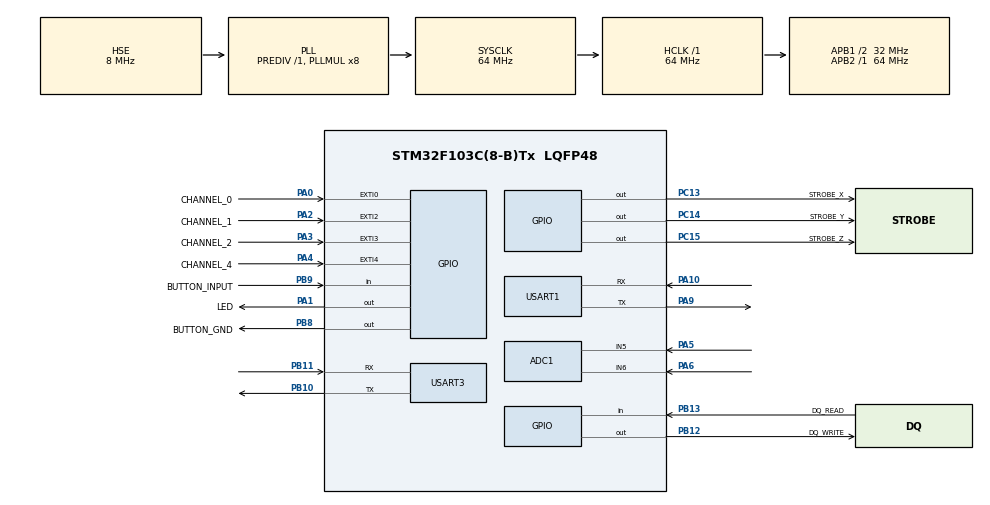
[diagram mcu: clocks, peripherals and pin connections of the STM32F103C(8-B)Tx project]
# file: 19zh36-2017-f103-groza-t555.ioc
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ADC1.Channel-0\#ChannelRegularConversion=ADC_CHANNEL_5
ADC1.NbrOfConversionFlag=1
ADC1.Rank-0\#ChannelRegularConversion=1
ADC1.SamplingTime-0\#ChannelRegularConversion=ADC_SAMPLETIME_1CYCLE_5
ADC1.master=1
Dma.Request0=USART3_RX
Dma.USART3_RX.0.Direction=DMA_PERIPH_TO_MEMORY
Dma.USART3_RX.0.Instance=DMA1_Channel3
Dma.USART3_RX.0.MemDataAlignment=DMA_MDATAALIGN_BYTE
Dma.USART3_RX.0.MemInc=DMA_MINC_ENABLE
Dma.USART3_RX.0.Mode=DMA_CIRCULAR
Dma.USART3_RX.0.PeriphDataAlignment=DMA_PDATAALIGN_BYTE
Dma.USART3_RX.0.PeriphInc=DMA_PINC_DISABLE
Dma.USART3_RX.0.Priority=DMA_PRIORITY_LOW
Mcu.Family=STM32F1
Mcu.Name=STM32F103C(8-B)Tx
Mcu.Package=LQFP48
NVIC.DMA1_Channel3_IRQn=true\:0\:0\:false\:false\:true\:false\:true
NVIC.EXTI0_IRQn=true\:1\:0\:true\:false\:true\:true\:true
NVIC.EXTI2_IRQn=true\:3\:0\:true\:false\:true\:true\:true
NVIC.EXTI3_IRQn=true\:4\:0\:true\:false\:true\:true\:true
NVIC.EXTI4_IRQn=true\:0\:0\:false\:false\:true\:true\:true
NVIC.PriorityGroup=NVIC_PRIORITYGROUP_4
NVIC.TIM3_IRQn=true\:7\:0\:true\:false\:true\:true\:true
PA0-WKUP.GPIO_Label=CHANNEL_0
PA0-WKUP.GPIO_PuPd=GPIO_PULLUP
PA0-WKUP.Signal=GPXTI0
PA1.GPIO_Label=LED
PA1.GPIO_ModeDefaultOutputPP=GPIO_MODE_OUTPUT_OD
PA1.Signal=GPIO_Output
PA10.Mode=Asynchronous
PA10.Signal=USART1_RX
PA13.Mode=Serial_Wire
PA13.Signal=SYS_JTMS-SWDIO
PA14.Mode=Serial_Wire
PA14.Signal=SYS_JTCK-SWCLK
PA2.GPIO_Label=CHANNEL_1
PA2.GPIO_PuPd=GPIO_PULLUP
PA2.Signal=GPXTI2
PA3.GPIO_Label=CHANNEL_2
PA3.GPIO_PuPd=GPIO_PULLUP
PA3.Signal=GPXTI3
PA4.GPIO_Label=CHANNEL_4
PA4.GPIO_ModeDefaultEXTI=GPIO_MODE_IT_RISING
PA4.GPIO_PuPd=GPIO_PULLUP
PA4.Signal=GPXTI4
PA5.Signal=ADCx_IN5
PA6.Signal=ADCx_IN6
PA9.Mode=Asynchronous
PA9.Signal=USART1_TX
PB10.Mode=Asynchronous
PB10.Signal=USART3_TX
PB11.Mode=Asynchronous
PB11.Signal=USART3_RX
PB12.GPIO_Label=DQ_WRITE
PB12.GPIO_ModeDefaultOutputPP=GPIO_MODE_OUTPUT_OD
PB12.GPIO_PuPd=GPIO_PULLUP
PB12.GPIO_Speed=GPIO_SPEED_FREQ_HIGH
PB12.PinState=GPIO_PIN_SET
PB12.Signal=GPIO_Output
PB13.GPIO_Label=DQ_READ
PB13.GPIO_PuPd=GPIO_PULLUP
PB13.Signal=GPIO_Input
PB8.GPIO_Label=BUTTON_GND
PB8.GPIO_PuPd=GPIO_PULLDOWN
PB8.Signal=GPIO_Output
PB9.GPIO_Label=BUTTON_INPUT
PB9.GPIO_PuPd=GPIO_PULLUP
PB9.Signal=GPIO_Input
PC13-TAMPER-RTC.GPIO_Label=STROBE_X
PC13-TAMPER-RTC.GPIO_PuPd=GPIO_PULLUP
PC13-TAMPER-RTC.GPIO_Speed=GPIO_SPEED_FREQ_HIGH
PC13-TAMPER-RTC.Signal=GPIO_Output
PC14-OSC32_IN.GPIO_Label=STROBE_Y
PC14-OSC32_IN.GPIO_PuPd=GPIO_PULLUP
PC14-OSC32_IN.GPIO_Speed=GPIO_SPEED_FREQ_HIGH
PC14-OSC32_IN.Signal=GPIO_Output
PC15-OSC32_OUT.GPIO_Label=STROBE_Z
PC15-OSC32_OUT.GPIO_PuPd=GPIO_PULLUP
PC15-OSC32_OUT.GPIO_Speed=GPIO_SPEED_FREQ_HIGH
PC15-OSC32_OUT.Signal=GPIO_Output
PD0-OSC_IN.Mode=HSE-External-Oscillator
PD0-OSC_IN.Signal=RCC_OSC_IN
PD1-OSC_OUT.Mode=HSE-External-Oscillator
PD1-OSC_OUT.Signal=RCC_OSC_OUT
ProjectManager.HeapSize=0x200
ProjectManager.StackSize=0x400
ProjectManager.TargetToolchain=STM32CubeIDE
RCC.ADCPresc=RCC_ADCPCLK2_DIV6
RCC.AHBFreq_Value=64000000
RCC.APB1CLKDivider=RCC_HCLK_DIV2
RCC.APB1Freq_Value=32000000
RCC.APB1TimFreq_Value=64000000
RCC.APB2Freq_Value=64000000
RCC.APB2TimFreq_Value=64000000
RCC.HCLKFreq_Value=64000000
RCC.PLLMUL=RCC_PLL_MUL8
RCC.PLLSourceVirtual=RCC_PLLSOURCE_HSE
RCC.SYSCLKFreq_VALUE=64000000
RCC.SYSCLKSource=RCC_SYSCLKSOURCE_PLLCLK
RCC.USBFreq_Value=64000000
SH.ADCx_IN5.0=ADC1_IN5,IN5
SH.ADCx_IN6.0=ADC1_IN6,IN6
TIM3.ClockDivision=TIM_CLOCKDIVISION_DIV1
TIM3.Period=1000-1
TIM3.Prescaler=64000-1
TIM4.Period=65000
TIM4.Prescaler=18-1
USART1.VirtualMode=VM_ASYNC
USART3.VirtualMode=VM_ASYNC
VP_ADC1_TempSens_Input.Mode=IN-TempSens
VP_TIM3_VS_ClockSourceINT.Mode=Internal
VP_TIM4_VS_ClockSourceINT.Mode=Internal
board=custom

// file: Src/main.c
/* USER CODE BEGIN Header */
/**
  ******************************************************************************
  * @file           : main.c
  * @brief          : Main program body
  ******************************************************************************
  * @attention
  *
  * <h2><center>&copy; Copyright (c) 2020 STMicroelectronics.
  * All rights reserved.</center></h2>
  *
  * This software component is licensed by ST under BSD 3-Clause license,
  * the "License"; You may not use this file except in compliance with the
  * License. You may obtain a copy of the License at:
  *                        opensource.org/licenses/BSD-3-Clause
  *
  ******************************************************************************
  */
/* USER CODE END Header */
#include "main.h"
#include "adc.h"
#include "dma.h"
#include "tim.h"
#include "usart.h"
#include "gpio.h"

/* USER CODE BEGIN Includes */

	#include "groza-t55_sm.h"
	#include "ringbuffer_dma_sm.h"
	#include "groza-t55_config.h"
	#include "ds18b20_sm.h"

/* USER CODE END Includes */

/* USER CODE BEGIN PV */
/* Private variables ---------------------------------------------------------*/

/* USER CODE END PV */

void SystemClock_Config(void);
/* USER CODE BEGIN PFP */
/* Private function prototypes -----------------------------------------------*/

/* USER CODE END PFP */

int main(void)
{

  /* MCU Configuration--------------------------------------------------------*/

  /* Reset of all peripherals, Initializes the Flash interface and the Systick. */
  HAL_Init();

  /* Configure the system clock */
  SystemClock_Config();

  /* Initialize all configured peripherals */
  MX_GPIO_Init();
  MX_DMA_Init();
  MX_USART1_UART_Init();
  MX_ADC1_Init();
  MX_TIM4_Init();
  MX_USART3_UART_Init();
  MX_TIM3_Init();
  /* USER CODE BEGIN 2 */

	PointStr MyStr0 = {0};
	PointStr MyStr1 = {0};
	PointStr MyStr2 = {0};
	PointStr MyStr3 = {0};
	char DataChar[0xFF] = {0};

	Groza_t55_init();
	DS18b20_Print_serial_number(&huart1);
	//while(1) {
		DS18b20_ConvertTemp_SkipROM ();
		HAL_Delay(1000);
		int temp_int = DS18b20_Get_Temp_SkipROM ();
		sprintf(DataChar, "DS18b20 = %d;\r\n",temp_int);
		HAL_UART_Transmit(&huart1, (uint8_t *)DataChar, sizeof(DataChar), 100);
	//	HAL_Delay(4000);
	//}

	HAL_GPIO_WritePin(LED_GPIO_Port, LED_Pin, SET) ;
	HAL_GPIO_WritePin(BUTTON_GND_GPIO_Port, BUTTON_GND_Pin, RESET );
	while (HAL_GPIO_ReadPin(BUTTON_INPUT_GPIO_Port, BUTTON_INPUT_Pin ) == GPIO_PIN_RESET ) {
		Measurement( &MyStr0, 0 );
	}

#if ( FIRST8 == 1 )
	for (int i=0; i<60; i++) {	// wait for router ready
		Measurement( &MyStr0, 0 );
		HAL_Delay(300);
	}

#elif ( NEXT12	== 1)
	for (int i=0; i<70; i++) {	// wait for router ready
		Measurement( &MyStr0, 0 );
		HAL_Delay(300);
	}
#endif

	RingBuffer_DMA_Connect();
	Groza_t55_init();

	//	HAL_TIM_Base_Start(&htim3);
	HAL_TIM_Base_Start_IT(&htim3);

  /* USER CODE END 2 */

  /* Infinite loop */
  /* USER CODE BEGIN WHILE */
while (1) {
	//	NRF24L01_Module();
	while (HAL_GPIO_ReadPin(BUTTON_INPUT_GPIO_Port, BUTTON_INPUT_Pin ) == GPIO_PIN_RESET ) {
		if (Get_Flag_1_Sec() == 1) {
			Measurement( &MyStr0, 0);
			Set_Flag_1_Sec(0);
		}
	}
	for (				uint8_t line3=0; line3 < CIRCLE_QNT; line3++ )	{
		for (			uint8_t line2=0; line2 < CIRCLE_QNT; line2++ )	{
			for (		uint8_t line1=0; line1 < CIRCLE_QNT; line1++ )	{
				for (	uint8_t line0=0; line0 < CIRCLE_QNT; line0++ )	{
					while (Get_Flag_1_Sec() == 0) {	/* wait on flag 1 Sec */ }
					Set_Flag_1_Sec(0);
					Measurement( &MyStr0, line0);
				}//for(line0)
				for (uint8_t device = 0; device < DEVICE_QNT; device++) {
					sprintf(DataChar,"  A%d%d%d\t", (int)line3, (int)line2, (int)line1 );
					HAL_UART_Transmit(&huart1, (uint8_t *)DataChar, strlen(DataChar), 100);
					MyStr1.point_u32[device][line1] = Calc_Average(MyStr0.point_u32[device], CIRCLE_QNT);
				}
			}//for(line1)
			for (uint8_t device = 0; device < DEVICE_QNT; device++) {
				sprintf(DataChar,"  B%d%d\t", (int)line3, (int)line2 );
				HAL_UART_Transmit(&huart1, (uint8_t *)DataChar, strlen(DataChar), 100);
				MyStr2.point_u32[device][line2] = Calc_Average(MyStr1.point_u32[device], CIRCLE_QNT);
			}
		}//for(line2)
		for (uint8_t device = 0; device < DEVICE_QNT; device++) {
			sprintf(DataChar,"  C%d\t", (int)line3 );
			HAL_UART_Transmit(&huart1, (uint8_t *)DataChar, strlen(DataChar), 100);
			MyStr3.point_u32[device][line3] = Calc_Average(MyStr2.point_u32[device], CIRCLE_QNT);
		}
	}//for(line3)

	uint32_t aver_res_u32[DEVICE_QNT];
	for (uint8_t device = 0; device < DEVICE_QNT; device++) {
		sprintf(DataChar,"  D\t" );
		HAL_UART_Transmit(&huart1, (uint8_t *)DataChar, strlen(DataChar), 100);
		aver_res_u32[device] = Calc_Average(MyStr3.point_u32[device], CIRCLE_QNT);
	}

	DS18b20_ConvertTemp_SkipROM ();

	char http_req[0xFF] = { 0 } ;
	sprintf(http_req, "&field1=%d&field2=%d&field3=%d&field4=%d&field5=%d&field6=%d&field7=%d&field8=%d\r\n\r\n",
					(int) MyStr0.zerone_u32[ 0] ,
					(int) MyStr0.zerone_u32[ 1] ,
					(int) MyStr0.zerone_u32[ 2] ,
					(int) MyStr0.zerone_u32[ 3] ,
					(int) MyStr0.zerone_u32[ 4] ,
					(int) MyStr0.zerone_u32[ 5] ,
					(int) MyStr0.zerone_u32[ 6] ,
					(int) MyStr0.zerone_u32[ 7] ) ;
	char apiKey_2[] = THINGSPEAK_API_KEY_2 ;
	RingBuffer_DMA_Main(http_req, apiKey_2);
	HAL_Delay(500);

	sprintf(http_req, "&field1=%d&field2=%d&field3=%d&field4=%d&field5=%d&field6=%d&field7=%d&field8=%d\r\n\r\n",
					(int) MyStr0.zerone_u32[ 8] ,
					(int) MyStr0.zerone_u32[ 9] ,
					(int) MyStr0.zerone_u32[10] ,
					(int) MyStr0.zerone_u32[11] ,
					(int) MyStr0.zerone_u32[12] ,
					(int) MyStr0.zerone_u32[13] ,
					(int) MyStr0.zerone_u32[14] ,
					(int) MyStr0.zerone_u32[15] ) ;
	char apiKey_3[] = THINGSPEAK_API_KEY_3 ;
	RingBuffer_DMA_Main(http_req, apiKey_3);

	sprintf(http_req, "&field1=%d&field2=%d&field3=%d&field4=%d&field5=%d&field6=%d&field7=%d&field8=%d\r\n\r\n",
					(int) aver_res_u32[ 0] ,
					(int) aver_res_u32[ 1] ,
					(int) aver_res_u32[ 2] ,
					(int) aver_res_u32[ 3] ,
					(int) aver_res_u32[ 4] ,
					(int) aver_res_u32[ 5] ,
					(int) aver_res_u32[ 6] ,
					(int) aver_res_u32[ 7] );
	char apiKey_0[] = THINGSPEAK_API_KEY_0 ;
	RingBuffer_DMA_Main(http_req, apiKey_0);
	HAL_Delay(500);

	int ds18b20_int = DS18b20_Get_Temp_SkipROM ();

#if ( FIRST8 == 1 )
	sprintf(http_req, "&field1=%d&field2=%d&field3=%d&field4=%d&field5=%d&field6=%d&field7=%d&field8=%d\r\n\r\n",
					(int)((aver_res_u32[12]*4)/10),
					(int)aver_res_u32[14],
					(int)aver_res_u32[ 8],
					(int)aver_res_u32[ 9],
					(int)aver_res_u32[10],
					(int)aver_res_u32[11],
					(int)aver_res_u32[12],
					(int) ds18b20_int      );
	char apiKey_1[] = THINGSPEAK_API_KEY_1 ;
	RingBuffer_DMA_Main(http_req, apiKey_1);
	HAL_Delay(500);

#elif ( NEXT12	== 1)
	sprintf(http_req, "&field1=%d&field2=%d&field3=%d&field4=%d&field5=%d&field6=%d&field7=%d&field8=%d\r\n\r\n",
					(int) aver_res_u32[ 8] ,
					(int) aver_res_u32[ 9] ,
					(int) aver_res_u32[10] ,
					(int) aver_res_u32[11] ,
					(int) aver_res_u32[12] ,
					(int) aver_res_u32[13] ,
					(int) aver_res_u32[14] ,
					(int) ds18b20_int       );
	char apiKey_1[] = THINGSPEAK_API_KEY_1 ;
	RingBuffer_DMA_Main(http_req, apiKey_1);
	HAL_Delay(500);
#endif

	for (int d=0; d < DEVICE_QNT; d++) {
		MyStr0.zerone_u32[d] = 0;
	}

    /* USER CODE END WHILE */

  }
}

void SystemClock_Config(void)
{
  RCC_OscInitTypeDef RCC_OscInitStruct = {0};
  RCC_ClkInitTypeDef RCC_ClkInitStruct = {0};
  RCC_PeriphCLKInitTypeDef PeriphClkInit = {0};

  /** Initializes the RCC Oscillators according to the specified parameters
  * in the RCC_OscInitTypeDef structure.
  */
  RCC_OscInitStruct.OscillatorType = RCC_OSCILLATORTYPE_HSE;
  RCC_OscInitStruct.HSEState = RCC_HSE_ON;
  RCC_OscInitStruct.HSEPredivValue = RCC_HSE_PREDIV_DIV1;
  RCC_OscInitStruct.HSIState = RCC_HSI_ON;
  RCC_OscInitStruct.PLL.PLLState = RCC_PLL_ON;
  RCC_OscInitStruct.PLL.PLLSource = RCC_PLLSOURCE_HSE;
  RCC_OscInitStruct.PLL.PLLMUL = RCC_PLL_MUL8;
  if (HAL_RCC_OscConfig(&RCC_OscInitStruct) != HAL_OK)
  {
    Error_Handler();
  }
  /** Initializes the CPU, AHB and APB buses clocks
  */
  RCC_ClkInitStruct.ClockType = RCC_CLOCKTYPE_HCLK|RCC_CLOCKTYPE_SYSCLK
                              |RCC_CLOCKTYPE_PCLK1|RCC_CLOCKTYPE_PCLK2;
  RCC_ClkInitStruct.SYSCLKSource = RCC_SYSCLKSOURCE_PLLCLK;
  RCC_ClkInitStruct.AHBCLKDivider = RCC_SYSCLK_DIV1;
  RCC_ClkInitStruct.APB1CLKDivider = RCC_HCLK_DIV2;
  RCC_ClkInitStruct.APB2CLKDivider = RCC_HCLK_DIV1;

  if (HAL_RCC_ClockConfig(&RCC_ClkInitStruct, FLASH_LATENCY_2) != HAL_OK)
  {
    Error_Handler();
  }
  PeriphClkInit.PeriphClockSelection = RCC_PERIPHCLK_ADC;
  PeriphClkInit.AdcClockSelection = RCC_ADCPCLK2_DIV6;
  if (HAL_RCCEx_PeriphCLKConfig(&PeriphClkInit) != HAL_OK)
  {
    Error_Handler();
  }
}

void Error_Handler(void)
{
  while(1)
  {
  }
}
